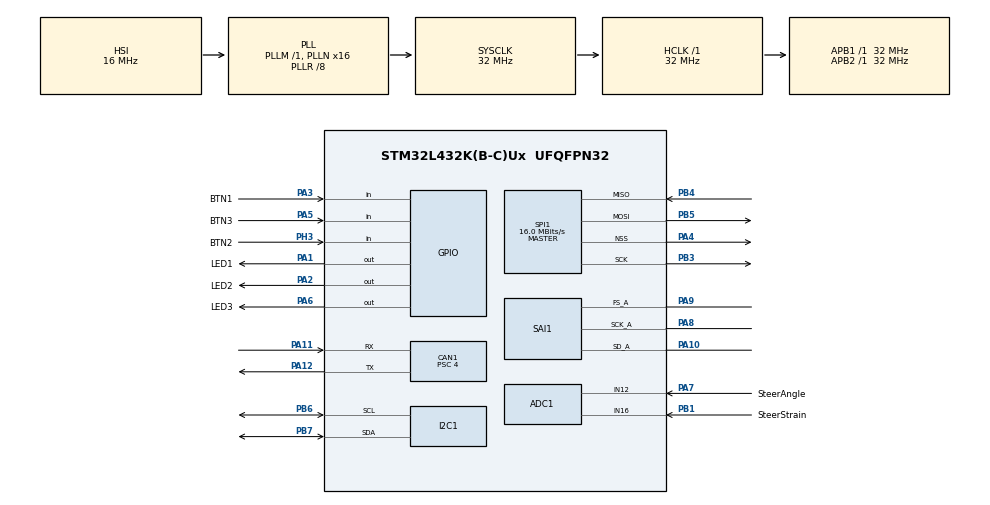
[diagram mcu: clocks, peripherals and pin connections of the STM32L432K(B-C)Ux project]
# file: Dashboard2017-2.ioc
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ADC1.Channel-13\#ChannelRegularConversion=ADC_CHANNEL_12
ADC1.Channel-14\#ChannelRegularConversion=ADC_CHANNEL_16
ADC1.ClockPrescaler=ADC_CLOCK_ASYNC_DIV4
ADC1.ContinuousConvMode=ENABLE
ADC1.EOCSelection=ADC_EOC_SINGLE_CONV
ADC1.EnableRegularConversion=ENABLE
ADC1.NbrOfConversion=2
ADC1.NbrOfConversionFlag=1
ADC1.OffsetNumber-13\#ChannelRegularConversion=ADC_OFFSET_NONE
ADC1.OffsetNumber-14\#ChannelRegularConversion=ADC_OFFSET_NONE
ADC1.Overrun=ADC_OVR_DATA_OVERWRITTEN
ADC1.Rank-13\#ChannelRegularConversion=1
ADC1.Rank-14\#ChannelRegularConversion=2
ADC1.SamplingTime-13\#ChannelRegularConversion=ADC_SAMPLETIME_247CYCLES_5
ADC1.SamplingTime-14\#ChannelRegularConversion=ADC_SAMPLETIME_247CYCLES_5
ADC1.master=1
CAN1.ABOM=ENABLE
CAN1.BS1=CAN_BS1_9TQ
CAN1.BS2=CAN_BS2_6TQ
CAN1.CalculateTimeBit=2000
CAN1.CalculateTimeQuantum=125.0
CAN1.Prescaler=4
FREERTOS.Tasks01=defaultTask,0,128,StartDefaultTask,Default,NULL
FREERTOS.configTOTAL_HEAP_SIZE=6000
Mcu.Family=STM32L4
Mcu.Name=STM32L432K(B-C)Ux
Mcu.Package=UFQFPN32
NVIC.CAN1_RX0_IRQn=true\:5\:0\:false\:false\:true\:true\:true
NVIC.CAN1_RX1_IRQn=true\:5\:0\:false\:false\:true\:true\:true
NVIC.CAN1_TX_IRQn=true\:5\:0\:false\:false\:true\:true\:true
NVIC.PriorityGroup=NVIC_PRIORITYGROUP_4
NVIC.TIM1_UP_TIM16_IRQn=true\:0\:0\:false\:false\:true\:false\:true
NVIC.TimeBase=TIM1_UP_TIM16_IRQn
NVIC.TimeBaseIP=TIM1
PA0.GPIO_Label=MCO [High speed clock in]
PA0.Signal=RCC_CK_IN
PA1.GPIO_Label=LED1
PA1.Signal=GPIO_Output
PA10.Mode=SAI_A_Master
PA10.Signal=SAI1_SD_A
PA11.Mode=Master
PA11.Signal=CAN1_RX
PA12.Mode=Master
PA12.Signal=CAN1_TX
PA13\ (JTMS-SWDIO).GPIO_Label=SWDIO
PA13\ (JTMS-SWDIO).Mode=Serial_Wire
PA13\ (JTMS-SWDIO).Signal=SYS_JTMS-SWDIO
PA14\ (JTCK-SWCLK).GPIO_Label=SWCLK
PA14\ (JTCK-SWCLK).Mode=Serial_Wire
PA14\ (JTCK-SWCLK).Signal=SYS_JTCK-SWCLK
PA2.GPIO_Label=LED2
PA2.Signal=GPIO_Output
PA3.GPIO_Label=BTN1
PA3.Signal=GPIO_Input
PA4.Mode=NSS_Signal_Hard_Output
PA4.Signal=SPI1_NSS
PA5.GPIO_Label=BTN3
PA5.Signal=GPIO_Input
PA6.GPIO_Label=LED3
PA6.Signal=GPIO_Output
PA7.GPIO_Label=SteerAngle
PA7.Signal=SharedAnalog_PA7
PA8.Mode=SAI_A_Master
PA8.Signal=SAI1_SCK_A
PA9.Mode=SAI_A_Master
PA9.Signal=SAI1_FS_A
PB0.GPIO_Label=Strain_Ref
PB0.Signal=ADCx_IN15
PB1.GPIO_Label=SteerStrain
PB1.Signal=ADCx_IN16
PB3\ (JTDO-TRACESWO).Mode=Full_Duplex_Master
PB3\ (JTDO-TRACESWO).Signal=SPI1_SCK
PB4\ (NJTRST).Mode=Full_Duplex_Master
PB4\ (NJTRST).Signal=SPI1_MISO
PB5.Mode=Full_Duplex_Master
PB5.Signal=SPI1_MOSI
PB6.Mode=I2C
PB6.Signal=I2C1_SCL
PB7.Mode=I2C
PB7.Signal=I2C1_SDA
PC14-OSC32_IN\ (PC14).Signal=RCC_OSC32_IN
PC15-OSC32_OUT\ (PC15).Signal=RCC_OSC32_OUT
PH3-BOOT0.GPIO_Label=BTN2
PH3-BOOT0.Signal=GPIO_Input
ProjectManager.HeapSize=0x2000
ProjectManager.StackSize=0x4000
ProjectManager.TargetToolchain=SW4STM32
RCC.ADCFreq_Value=64000000
RCC.AHBFreq_Value=32000000
RCC.APB1Freq_Value=32000000
RCC.APB1TimFreq_Value=32000000
RCC.APB2Freq_Value=32000000
RCC.APB2TimFreq_Value=32000000
RCC.CortexFreq_Value=32000000
RCC.HCLKFreq_Value=32000000
RCC.HSE_VALUE=8000000
RCC.HSI16_VALUE=16000000
RCC.HSI48_VALUE=48000000
RCC.HSI_VALUE=16000000
RCC.LSE_VALUE=32768
RCC.MSI_VALUE=4000000
RCC.PLLMUL=RCC_PLLMUL_4
RCC.PLLN=16
RCC.PLLR=RCC_PLLR_DIV8
RCC.PLLSourceVirtual=RCC_PLLSOURCE_HSI
RCC.SYSCLKFreq_VALUE=32000000
RCC.SYSCLKSource=RCC_SYSCLKSOURCE_PLLCLK
RCC.USBFreq_Value=64000000
RCC.VCOOutputFreq_Value=256000000
SAI1.ErrorAudioFreq-SAI_A_Master=-62.79 %
SAI1.InitProtocol-SAI_A_Master=Enable
SAI1.Instance-SAI_A_Master=SAI$Index_Block_A
SAI1.MClockEnable-SAI_A_Master=SAI_MASTERCLOCK_DISABLE
SAI1.RealAudioFreq-SAI_A_Master=71.428 KHz
SAI1.Synchro-SAI_A_Master=SAI_ASYNCHRONOUS
SAI1.VirtualMode-SAI_A_Master=VM_MASTER
SAI1.VirtualProtocol-SAI_A_BASIC=VM_BASIC_PROTOCOL
SH.ADCx_IN15.0=ADC1_IN15
SH.ADCx_IN16.0=ADC1_IN16,IN16-Single-Ended
SH.SharedAnalog_PA7.0=GPIO_Analog
SH.SharedAnalog_PA7.1=ADC1_IN12,IN12-Single-Ended
SPI1.CalculateBaudRate=16.0 MBits/s
SPI1.Direction=SPI_DIRECTION_2LINES
SPI1.Mode=SPI_MODE_MASTER
SPI1.VirtualNSS=VM_NSSHARD
SPI1.VirtualType=VM_MASTER
VP_FREERTOS_VS_ENABLE.Mode=Enabled
VP_SAI1_VP_$IpInstance_SAIA_SAI_BASIC.Mode=SAI_A_BASIC
VP_SYS_VS_tim1.Mode=TIM1
board=NUCLEO-L432KC

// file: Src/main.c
/* USER CODE BEGIN Header */
/**
  ******************************************************************************
  * @file           : main.c
  * @brief          : Main program body
  ******************************************************************************
  * This notice applies to any and all portions of this file
  * that are not between comment pairs USER CODE BEGIN and
  * USER CODE END. Other portions of this file, whether
  * inserted by the user or by software development tools
  * are owned by their respective copyright owners.
  *
  * Copyright (c) 2019 STMicroelectronics International N.V.
  * All rights reserved.
  *
  * Redistribution and use in source and binary forms, with or without
  * modification, are permitted, provided that the following conditions are met:
  *
  * 1. Redistribution of source code must retain the above copyright notice,
  *    this list of conditions and the following disclaimer.
  * 2. Redistributions in binary form must reproduce the above copyright notice,
  *    this list of conditions and the following disclaimer in the documentation
  *    and/or other materials provided with the distribution.
  * 3. Neither the name of STMicroelectronics nor the names of other
  *    contributors to this software may be used to endorse or promote products
  *    derived from this software without specific written permission.
  * 4. This software, including modifications and/or derivative works of this
  *    software, must execute solely and exclusively on microcontroller or
  *    microprocessor devices manufactured by or for STMicroelectronics.
  * 5. Redistribution and use of this software other than as permitted under
  *    this license is void and will automatically terminate your rights under
  *    this license.
  *
  * THIS SOFTWARE IS PROVIDED BY STMICROELECTRONICS AND CONTRIBUTORS "AS IS"
  * AND ANY EXPRESS, IMPLIED OR STATUTORY WARRANTIES, INCLUDING, BUT NOT
  * LIMITED TO, THE IMPLIED WARRANTIES OF MERCHANTABILITY, FITNESS FOR A
  * PARTICULAR PURPOSE AND NON-INFRINGEMENT OF THIRD PARTY INTELLECTUAL PROPERTY
  * RIGHTS ARE DISCLAIMED TO THE FULLEST EXTENT PERMITTED BY LAW. IN NO EVENT
  * SHALL STMICROELECTRONICS OR CONTRIBUTORS BE LIABLE FOR ANY DIRECT, INDIRECT,
  * INCIDENTAL, SPECIAL, EXEMPLARY, OR CONSEQUENTIAL DAMAGES (INCLUDING, BUT NOT
  * LIMITED TO, PROCUREMENT OF SUBSTITUTE GOODS OR SERVICES; LOSS OF USE, DATA,
  * OR PROFITS; OR BUSINESS INTERRUPTION) HOWEVER CAUSED AND ON ANY THEORY OF
  * LIABILITY, WHETHER IN CONTRACT, STRICT LIABILITY, OR TORT (INCLUDING
  * NEGLIGENCE OR OTHERWISE) ARISING IN ANY WAY OUT OF THE USE OF THIS SOFTWARE,
  * EVEN IF ADVISED OF THE POSSIBILITY OF SUCH DAMAGE.
  *
  ******************************************************************************
  */
/* USER CODE END Header */

#include "main.h"
#include "cmsis_os.h"

ADC_HandleTypeDef hadc1;

CAN_HandleTypeDef hcan1;

I2C_HandleTypeDef hi2c1;

SAI_HandleTypeDef hsai_BlockA1;

SPI_HandleTypeDef hspi1;

osThreadId defaultTaskHandle;
/* USER CODE BEGIN PV */
/* Private variables ---------------------------------------------------------*/
QueueHandle_t q_txcan;
QueueHandle_t q_rxcan;
SemaphoreHandle_t m_CAN;
/* USER CODE END PV */

void SystemClock_Config(void);
static void MX_GPIO_Init(void);
static void MX_CAN1_Init(void);
static void MX_I2C1_Init(void);
static void MX_SAI1_Init(void);
static void MX_SPI1_Init(void);
static void MX_ADC1_Init(void);
void StartDefaultTask(void const * argument);

/* USER CODE BEGIN PFP */
/* Private function prototypes -----------------------------------------------*/

/* USER CODE END PFP */

/* USER CODE BEGIN 0 */

void CANFilterConfig()
{
  CAN_FilterTypeDef FilterConf;
  FilterConf.FilterIdHigh =         0x205 << 5;
  FilterConf.FilterIdLow =          0x200 << 5;
  FilterConf.FilterMaskIdHigh =    0;       // 3
  FilterConf.FilterMaskIdLow =      0;       // 1
  FilterConf.FilterFIFOAssignment = CAN_FilterFIFO0;
  FilterConf.FilterBank = 0;
  FilterConf.FilterMode = CAN_FILTERMODE_IDMASK;
  FilterConf.FilterScale = CAN_FILTERSCALE_16BIT;
  FilterConf.FilterActivation = ENABLE;
  HAL_CAN_ConfigFilter(&hcan1, &FilterConf);
}

void taskBlink(void* can)
{
	//vTaskDelay(5000); //TESTING1
	while (1)
	{
		CanTxMsgTypeDef tx;
		tx.IDE = CAN_ID_STD;
		tx.RTR = CAN_RTR_DATA;
		tx.StdId = 0x600;
		tx.DLC = 1;
		tx.Data[0] = 1;

		xQueueSendToBack(q_txcan, &tx, 100);
		vTaskDelay(500);
	}
}

void taskTXCAN()
{
	CanTxMsgTypeDef tx;

	for (;;)
	{
		//check if this task is triggered
		if (xQueuePeek(q_txcan, &tx, portMAX_DELAY) == pdTRUE)
		{
			xQueueReceive(q_txcan, &tx, portMAX_DELAY);  //actually take item out of queue

			CAN_TxHeaderTypeDef header;
			header.DLC = tx.DLC;
			header.IDE = tx.IDE;
			header.RTR = tx.RTR;
			header.StdId = tx.StdId;
			header.TransmitGlobalTime = DISABLE;
			uint32_t mailbox;
			HAL_GPIO_TogglePin(LED3_GPIO_Port, LED3_Pin);
			//send the message
			while (!HAL_CAN_GetTxMailboxesFreeLevel(&hcan1)); // while mailboxes not free
			HAL_CAN_AddTxMessage(&hcan1, &header, tx.Data, &mailbox);
		}
	}
}

void taskRXCANProcess()
{
	CanRxMsgTypeDef rx;  //CanRxMsgTypeDef to be received on the queue
	rx.IDE = CAN_ID_STD;	//test
	while (1)
	{

		//if there is a CanRxMsgTypeDef in the queue, pop it, and store in rx
		if (xQueueReceive(q_rxcan, &rx, portMAX_DELAY) == pdTRUE)
		{
			//A CAN message has been recieved
			//rx.StdId = rx.StdId / 0x100000; test
			//check what kind of message we received
			switch (rx.StdId)
			{
				case 0x200:  //if car status message
				{
					if (rx.Data[0] == 1) //car is in ready to drive
					{
						HAL_GPIO_WritePin(LED2_GPIO_Port, LED2_Pin, GPIO_PIN_RESET);
					}
					else if (rx.Data[0] == 0) //car is not ready to drive
					{
						HAL_GPIO_WritePin(LED2_GPIO_Port, LED2_Pin, GPIO_PIN_SET);
					}
					break;
				}
			}
		}
	}
}

void taskTorquePos()
{
	int steer_angle = 0;
	int steer_strain = 0;

	while (1)
	{
		HAL_ADC_Start(&hadc1); //Start the ADC
		HAL_ADC_PollForConversion(&hadc1, 100); //read channel 12
		steer_angle = HAL_ADC_GetValue(&hadc1);
		HAL_ADC_PollForConversion(&hadc1, 100);
		steer_strain = HAL_ADC_GetValue(&hadc1);	//read channel 16
		HAL_ADC_Stop(&hadc1);

		CanTxMsgTypeDef tx;
		tx.IDE = CAN_ID_STD;
		tx.RTR = CAN_RTR_DATA;
		tx.StdId = 0x7C0;
		tx.DLC = 4;
		tx.Data[0] =	(uint8_t) steer_angle;	//bytes 7-0
		tx.Data[1] =	(uint8_t) (steer_angle >> 8);		//bytes 11-8
		tx.Data[2] =	(uint8_t) steer_strain;	//bytes 7-0
		tx.Data[3] =	(uint8_t) (steer_strain >> 8);		//bytes 11-8

		xQueueSendToBack(q_txcan, &tx, 100);

		vTaskDelay(20 / portTICK_RATE_MS);
	}
}
/* USER CODE END 0 */

int main(void)
{

  /* MCU Configuration--------------------------------------------------------*/

  /* Reset of all peripherals, Initializes the Flash interface and the Systick. */
  HAL_Init();

  /* Configure the system clock */
  SystemClock_Config();

  /* Initialize all configured peripherals */
  MX_GPIO_Init();
  MX_CAN1_Init();
  MX_I2C1_Init();
  MX_SAI1_Init();
  MX_SPI1_Init();
  MX_ADC1_Init();
  /* USER CODE BEGIN 2 */
//  CANFilterConfig();
  m_CAN =			xSemaphoreCreateMutex();
  q_txcan = 		xQueueCreate(3, sizeof(CanTxMsgTypeDef));
  q_rxcan = 		xQueueCreate(3, sizeof(CanRxMsgTypeDef));
  xTaskCreate(taskTXCAN, "TX CAN", 128, NULL, 1, NULL);
  //xTaskCreate(taskRXCAN, "RX CAN", 32, NULL, 1, NULL);
  //xTaskCreate(taskRXCANProcess, "TX CAN Process", 64, NULL, 1, NULL);
  //xTaskCreate(taskBlink, "Blink CAN", 64, NULL, 1, NULL);
  xTaskCreate(taskTorquePos, "Steering CAN", 128, NULL, 1, NULL);

	HAL_GPIO_WritePin(LED1_GPIO_Port, LED1_Pin, GPIO_PIN_RESET);
	HAL_GPIO_WritePin(LED2_GPIO_Port, LED2_Pin, GPIO_PIN_SET);

	CANFilterConfig();
	HAL_CAN_Start(&hcan1);
	HAL_CAN_ActivateNotification(&hcan1, CAN_IT_RX_FIFO0_MSG_PENDING);

  /* USER CODE END 2 */

  /* Create the thread(s) */
  /* definition and creation of defaultTask */
  osThreadDef(defaultTask, StartDefaultTask, osPriorityNormal, 0, 128);
  defaultTaskHandle = osThreadCreate(osThread(defaultTask), NULL);

  /* Start scheduler */
  osKernelStart();

  /* We should never get here as control is now taken by the scheduler */

  /* Infinite loop */
  while (1)
  {

  }
}

void SystemClock_Config(void)
{
  RCC_OscInitTypeDef RCC_OscInitStruct = {0};
  RCC_ClkInitTypeDef RCC_ClkInitStruct = {0};
  RCC_PeriphCLKInitTypeDef PeriphClkInit = {0};

  /**Initializes the CPU, AHB and APB busses clocks
  */
  RCC_OscInitStruct.OscillatorType = RCC_OSCILLATORTYPE_HSI;
  RCC_OscInitStruct.HSIState = RCC_HSI_ON;
  RCC_OscInitStruct.HSICalibrationValue = RCC_HSICALIBRATION_DEFAULT;
  RCC_OscInitStruct.PLL.PLLState = RCC_PLL_ON;
  RCC_OscInitStruct.PLL.PLLSource = RCC_PLLSOURCE_HSI;
  RCC_OscInitStruct.PLL.PLLM = 1;
  RCC_OscInitStruct.PLL.PLLN = 16;
  RCC_OscInitStruct.PLL.PLLP = RCC_PLLP_DIV7;
  RCC_OscInitStruct.PLL.PLLQ = RCC_PLLQ_DIV2;
  RCC_OscInitStruct.PLL.PLLR = RCC_PLLR_DIV8;
  if (HAL_RCC_OscConfig(&RCC_OscInitStruct) != HAL_OK)
  {
    Error_Handler();
  }
  /**Initializes the CPU, AHB and APB busses clocks
  */
  RCC_ClkInitStruct.ClockType = RCC_CLOCKTYPE_HCLK|RCC_CLOCKTYPE_SYSCLK
                              |RCC_CLOCKTYPE_PCLK1|RCC_CLOCKTYPE_PCLK2;
  RCC_ClkInitStruct.SYSCLKSource = RCC_SYSCLKSOURCE_PLLCLK;
  RCC_ClkInitStruct.AHBCLKDivider = RCC_SYSCLK_DIV1;
  RCC_ClkInitStruct.APB1CLKDivider = RCC_HCLK_DIV1;
  RCC_ClkInitStruct.APB2CLKDivider = RCC_HCLK_DIV1;

  if (HAL_RCC_ClockConfig(&RCC_ClkInitStruct, FLASH_LATENCY_1) != HAL_OK)
  {
    Error_Handler();
  }
  PeriphClkInit.PeriphClockSelection = RCC_PERIPHCLK_SAI1|RCC_PERIPHCLK_I2C1
                              |RCC_PERIPHCLK_ADC;
  PeriphClkInit.I2c1ClockSelection = RCC_I2C1CLKSOURCE_PCLK1;
  PeriphClkInit.Sai1ClockSelection = RCC_SAI1CLKSOURCE_PLLSAI1;
  PeriphClkInit.AdcClockSelection = RCC_ADCCLKSOURCE_PLLSAI1;
  PeriphClkInit.PLLSAI1.PLLSAI1Source = RCC_PLLSOURCE_HSI;
  PeriphClkInit.PLLSAI1.PLLSAI1M = 1;
  PeriphClkInit.PLLSAI1.PLLSAI1N = 8;
  PeriphClkInit.PLLSAI1.PLLSAI1P = RCC_PLLP_DIV7;
  PeriphClkInit.PLLSAI1.PLLSAI1Q = RCC_PLLQ_DIV2;
  PeriphClkInit.PLLSAI1.PLLSAI1R = RCC_PLLR_DIV2;
  PeriphClkInit.PLLSAI1.PLLSAI1ClockOut = RCC_PLLSAI1_SAI1CLK|RCC_PLLSAI1_ADC1CLK;
  if (HAL_RCCEx_PeriphCLKConfig(&PeriphClkInit) != HAL_OK)
  {
    Error_Handler();
  }
  /**Configure the main internal regulator output voltage
  */
  if (HAL_PWREx_ControlVoltageScaling(PWR_REGULATOR_VOLTAGE_SCALE1) != HAL_OK)
  {
    Error_Handler();
  }
}

static void MX_ADC1_Init(void)
{

  ADC_ChannelConfTypeDef sConfig = {0};

  /**Common config
  */
  hadc1.Instance = ADC1;
  hadc1.Init.ClockPrescaler = ADC_CLOCK_ASYNC_DIV4;
  hadc1.Init.Resolution = ADC_RESOLUTION_12B;
  hadc1.Init.DataAlign = ADC_DATAALIGN_RIGHT;
  hadc1.Init.ScanConvMode = ADC_SCAN_ENABLE;
  hadc1.Init.EOCSelection = ADC_EOC_SINGLE_CONV;
  hadc1.Init.LowPowerAutoWait = DISABLE;
  hadc1.Init.ContinuousConvMode = ENABLE;
  hadc1.Init.NbrOfConversion = 2;
  hadc1.Init.DiscontinuousConvMode = DISABLE;
  hadc1.Init.ExternalTrigConv = ADC_SOFTWARE_START;
  hadc1.Init.ExternalTrigConvEdge = ADC_EXTERNALTRIGCONVEDGE_NONE;
  hadc1.Init.DMAContinuousRequests = DISABLE;
  hadc1.Init.Overrun = ADC_OVR_DATA_OVERWRITTEN;
  hadc1.Init.OversamplingMode = DISABLE;
  if (HAL_ADC_Init(&hadc1) != HAL_OK)
  {
    Error_Handler();
  }
  /**Configure Regular Channel
  */
  sConfig.Channel = ADC_CHANNEL_12;
  sConfig.Rank = ADC_REGULAR_RANK_1;
  sConfig.SamplingTime = ADC_SAMPLETIME_247CYCLES_5;
  sConfig.SingleDiff = ADC_SINGLE_ENDED;
  sConfig.OffsetNumber = ADC_OFFSET_NONE;
  sConfig.Offset = 0;
  if (HAL_ADC_ConfigChannel(&hadc1, &sConfig) != HAL_OK)
  {
    Error_Handler();
  }
  /**Configure Regular Channel
  */
  sConfig.Channel = ADC_CHANNEL_16;
  sConfig.Rank = ADC_REGULAR_RANK_2;
  if (HAL_ADC_ConfigChannel(&hadc1, &sConfig) != HAL_OK)
  {
    Error_Handler();
  }
  /* USER CODE BEGIN ADC1_Init 2 */
//  sConfig.Channel = ADC_CHANNEL_12;
//	sConfig.Rank = ADC_REGULAR_RANK_2;
//	sConfig.SamplingTime = ADC_SAMPLETIME_2CYCLES_5;
//	sConfig.SingleDiff = ADC_SINGLE_ENDED;
//	sConfig.OffsetNumber = ADC_OFFSET_NONE;
//	sConfig.Offset = 0;
//	if (HAL_ADC_ConfigChannel(&hadc1, &sConfig) != HAL_OK)
//	{
//		Error_Handler();
//	}
  /* USER CODE END ADC1_Init 2 */

}

static void MX_CAN1_Init(void)
{

  hcan1.Instance = CAN1;
  hcan1.Init.Prescaler = 4;
  hcan1.Init.Mode = CAN_MODE_NORMAL;
  hcan1.Init.SyncJumpWidth = CAN_SJW_1TQ;
  hcan1.Init.TimeSeg1 = CAN_BS1_9TQ;
  hcan1.Init.TimeSeg2 = CAN_BS2_6TQ;
  hcan1.Init.TimeTriggeredMode = DISABLE;
  hcan1.Init.AutoBusOff = ENABLE;
  hcan1.Init.AutoWakeUp = DISABLE;
  hcan1.Init.AutoRetransmission = DISABLE;
  hcan1.Init.ReceiveFifoLocked = DISABLE;
  hcan1.Init.TransmitFifoPriority = DISABLE;
  if (HAL_CAN_Init(&hcan1) != HAL_OK)
  {
    Error_Handler();
  }

}

static void MX_I2C1_Init(void)
{

  hi2c1.Instance = I2C1;
  hi2c1.Init.Timing = 0x00000E14;
  hi2c1.Init.OwnAddress1 = 0;
  hi2c1.Init.AddressingMode = I2C_ADDRESSINGMODE_7BIT;
  hi2c1.Init.DualAddressMode = I2C_DUALADDRESS_DISABLE;
  hi2c1.Init.OwnAddress2 = 0;
  hi2c1.Init.OwnAddress2Masks = I2C_OA2_NOMASK;
  hi2c1.Init.GeneralCallMode = I2C_GENERALCALL_DISABLE;
  hi2c1.Init.NoStretchMode = I2C_NOSTRETCH_DISABLE;
  if (HAL_I2C_Init(&hi2c1) != HAL_OK)
  {
    Error_Handler();
  }
  /**Configure Analogue filter
  */
  if (HAL_I2CEx_ConfigAnalogFilter(&hi2c1, I2C_ANALOGFILTER_ENABLE) != HAL_OK)
  {
    Error_Handler();
  }
  /**Configure Digital filter
  */
  if (HAL_I2CEx_ConfigDigitalFilter(&hi2c1, 0) != HAL_OK)
  {
    Error_Handler();
  }

}

static void MX_SAI1_Init(void)
{

  hsai_BlockA1.Instance = SAI1_Block_A;
  hsai_BlockA1.Init.AudioMode = SAI_MODEMASTER_TX;
  hsai_BlockA1.Init.Synchro = SAI_ASYNCHRONOUS;
  hsai_BlockA1.Init.OutputDrive = SAI_OUTPUTDRIVE_DISABLE;
  hsai_BlockA1.Init.NoDivider = SAI_MASTERDIVIDER_ENABLE;
  hsai_BlockA1.Init.FIFOThreshold = SAI_FIFOTHRESHOLD_EMPTY;
  hsai_BlockA1.Init.AudioFrequency = SAI_AUDIO_FREQUENCY_192K;
  hsai_BlockA1.Init.SynchroExt = SAI_SYNCEXT_DISABLE;
  hsai_BlockA1.Init.MonoStereoMode = SAI_STEREOMODE;
  hsai_BlockA1.Init.CompandingMode = SAI_NOCOMPANDING;
  hsai_BlockA1.Init.TriState = SAI_OUTPUT_NOTRELEASED;
  if (HAL_SAI_InitProtocol(&hsai_BlockA1, SAI_I2S_STANDARD, SAI_PROTOCOL_DATASIZE_16BIT, 2) != HAL_OK)
  {
    Error_Handler();
  }

}

static void MX_SPI1_Init(void)
{

  /* SPI1 parameter configuration*/
  hspi1.Instance = SPI1;
  hspi1.Init.Mode = SPI_MODE_MASTER;
  hspi1.Init.Direction = SPI_DIRECTION_2LINES;
  hspi1.Init.DataSize = SPI_DATASIZE_4BIT;
  hspi1.Init.CLKPolarity = SPI_POLARITY_LOW;
  hspi1.Init.CLKPhase = SPI_PHASE_1EDGE;
  hspi1.Init.NSS = SPI_NSS_HARD_OUTPUT;
  hspi1.Init.BaudRatePrescaler = SPI_BAUDRATEPRESCALER_2;
  hspi1.Init.FirstBit = SPI_FIRSTBIT_MSB;
  hspi1.Init.TIMode = SPI_TIMODE_DISABLE;
  hspi1.Init.CRCCalculation = SPI_CRCCALCULATION_DISABLE;
  hspi1.Init.CRCPolynomial = 7;
  hspi1.Init.CRCLength = SPI_CRC_LENGTH_DATASIZE;
  hspi1.Init.NSSPMode = SPI_NSS_PULSE_ENABLE;
  if (HAL_SPI_Init(&hspi1) != HAL_OK)
  {
    Error_Handler();
  }

}

static void MX_GPIO_Init(void)
{
  GPIO_InitTypeDef GPIO_InitStruct = {0};

  /* GPIO Ports Clock Enable */
  __HAL_RCC_GPIOC_CLK_ENABLE();
  __HAL_RCC_GPIOA_CLK_ENABLE();
  __HAL_RCC_GPIOB_CLK_ENABLE();
  __HAL_RCC_GPIOH_CLK_ENABLE();

  /*Configure GPIO pin Output Level */
  HAL_GPIO_WritePin(GPIOA, LED1_Pin|LED2_Pin|LED3_Pin, GPIO_PIN_RESET);

  /*Configure GPIO pins : LED1_Pin LED2_Pin LED3_Pin */
  GPIO_InitStruct.Pin = LED1_Pin|LED2_Pin|LED3_Pin;
  GPIO_InitStruct.Mode = GPIO_MODE_OUTPUT_PP;
  GPIO_InitStruct.Pull = GPIO_NOPULL;
  GPIO_InitStruct.Speed = GPIO_SPEED_FREQ_LOW;
  HAL_GPIO_Init(GPIOA, &GPIO_InitStruct);

  /*Configure GPIO pins : BTN1_Pin BTN3_Pin */
  GPIO_InitStruct.Pin = BTN1_Pin|BTN3_Pin;
  GPIO_InitStruct.Mode = GPIO_MODE_INPUT;
  GPIO_InitStruct.Pull = GPIO_NOPULL;
  HAL_GPIO_Init(GPIOA, &GPIO_InitStruct);

  /*Configure GPIO pin : SteerAngle_Pin */
  GPIO_InitStruct.Pin = SteerAngle_Pin;
  GPIO_InitStruct.Mode = GPIO_MODE_ANALOG;
  GPIO_InitStruct.Pull = GPIO_NOPULL;
  HAL_GPIO_Init(SteerAngle_GPIO_Port, &GPIO_InitStruct);

  /*Configure GPIO pin : BTN2_Pin */
  GPIO_InitStruct.Pin = BTN2_Pin;
  GPIO_InitStruct.Mode = GPIO_MODE_INPUT;
  GPIO_InitStruct.Pull = GPIO_NOPULL;
  HAL_GPIO_Init(BTN2_GPIO_Port, &GPIO_InitStruct);

}

void StartDefaultTask(void const * argument)
{

  for(;;)
  {
    osDelay(1);
  }
}

void HAL_TIM_PeriodElapsedCallback(TIM_HandleTypeDef *htim)
{
  if (htim->Instance == TIM1) {
    HAL_IncTick();
  }
}

void Error_Handler(void)
{
  while(1)
  {
  }
}

/************************ (C) COPYRIGHT STMicroelectronics *****END OF FILE****/
